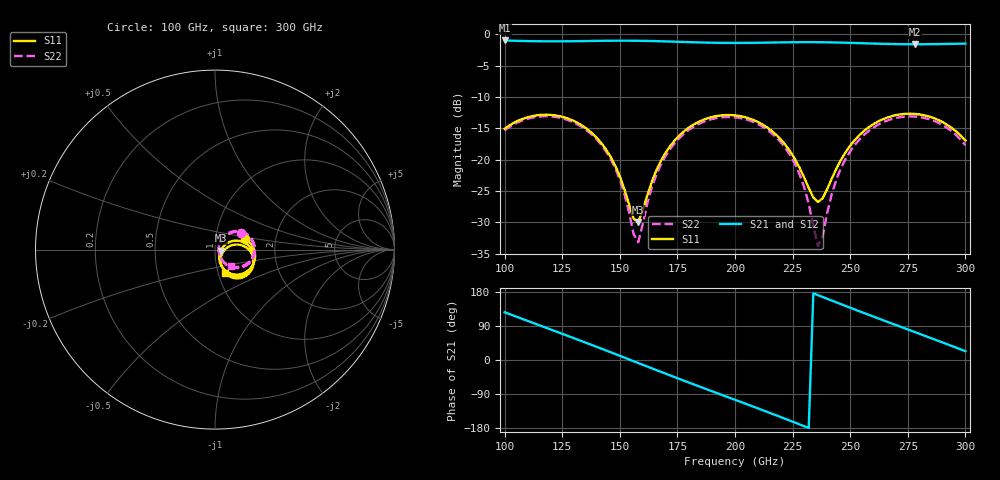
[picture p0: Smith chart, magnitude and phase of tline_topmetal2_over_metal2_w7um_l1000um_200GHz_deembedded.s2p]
! Created with skrf 2.0.1 (http://scikit-rf.org).
# GHz S DB R 50.0
!freq dBS11 angS11 dBS21 angS21 dBS12 angS12 dBS22 angS22
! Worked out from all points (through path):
!   101 points, 100 GHz to 300 GHz, reference 50 ohm
!   highest |S21| = -0.95 dB at 100 GHz (marker M1); lowest = -1.6 dB at 278 GHz (marker M2)
!   group delay of S21, straight-line fit = 6.45 ps
!   lowest |S11| = -30.0 dB at 158 GHz (marker M3), VSWR 1.07, Z = 53.2 - j0.685 ohm
!   |S11| at or under -10 dB: start of sweep to end of sweep
!   |S22| runs from -33.8 to -13.1 dB; largest |S21 - S12| = 1e-13
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100  -15.07 19.8  -0.95 126.0  -0.95 126.0  -15.32 33.0
116  -12.84 -12.6  -1.09 89.6  -1.09 89.6  -13.08 1.9
134  -14.63 -48.7  -1.05 48.6  -1.05 48.6  -14.88 -33.4
148  -20.95 -69.0  -0.99 15.8  -0.99 15.8  -21.34 -55.7
156  -29.43 -39.5  -1.00 -3.2  -1.00 -3.2  -31.90 -30.0
158  -29.95 -11.7  -1.01 -8.0  -1.01 -8.0  -33.19 9.2
164  -23.41 27.0  -1.05 -22.2  -1.05 -22.2  -24.31 54.2
168  -20.08 27.3  -1.09 -31.6  -1.09 -31.6  -20.66 52.8
184  -14.00 2.3  -1.26 -68.7  -1.26 -68.7  -14.34 25.9
200  -12.92 -28.5  -1.35 -105.0  -1.35 -105.0  -13.23 -5.6
210  -13.99 -47.1  -1.32 -127.8  -1.32 -127.8  -14.32 -25.4
222  -17.69 -65.2  -1.25 -155.7  -1.25 -155.7  -18.20 -47.5
228  -21.27 -66.7  -1.23 -169.9  -1.23 -169.9  -22.31 -54.9
234  -26.04 -45.0  -1.23 175.9  -1.23 175.9  -30.57 -40.8
236  -26.76 -27.7  -1.24 171.1  -1.24 171.1  -33.82 -8.9
242  -23.03 10.1  -1.27 156.9  -1.27 156.9  -25.48 57.1
248  -18.81 14.1  -1.32 142.7  -1.32 142.7  -19.87 54.6
256  -15.41 5.2  -1.41 124.0  -1.41 124.0  -16.04 41.4
268  -13.05 -15.0  -1.52 96.5  -1.52 96.5  -13.51 18.0
278  -12.69 -32.9  -1.56 73.8  -1.56 73.8  -13.11 -2.2
288  -13.62 -50.2  -1.53 51.0  -1.53 51.0  -14.06 -22.4
300  -16.95 -66.0  -1.46 23.2  -1.46 23.2  -17.71 -45.5
